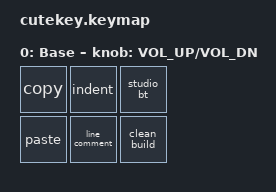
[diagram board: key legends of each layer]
/*
 * Copyright (c) 2022 The ZMK Contributors
 *
 * SPDX-License-Identifier: MIT
 */

#include <behaviors.dtsi>
#include <dt-bindings/zmk/keys.h>
#include <dt-bindings/zmk/bt.h>
#include <dt-bindings/zmk/outputs.h>

#define DEFAULT 0
#define NAV     1

&lt { quick-tap-ms = <200>; };

/ {
    macros {
        bt_pair: bt_pair {
            compatible = "zmk,behavior-macro";
            #binding-cells = <0>;
            wait-ms = <40>;
            tap-ms = <40>;
            bindings = <&bt BT_CLR_ALL>, <&bt BT_SEL 0>;
        };
        copy: copy {
            compatible = "zmk,behavior-macro";
            #binding-cells = <0>;
            wait-ms = <40>;
            tap-ms = <40>;
            bindings = 
                <&macro_press &kp LEFT_CONTROL>,
                <&macro_tap &kp C>,
                <&macro_release &kp LEFT_CONTROL>;
        };
        paste: paste {
            compatible = "zmk,behavior-macro";
            #binding-cells = <0>;
            wait-ms = <40>;
            tap-ms = <40>;
            bindings = 
                <&macro_press &kp LEFT_CONTROL>,
                <&macro_tap &kp V>,
                <&macro_release &kp LEFT_CONTROL>;
        };
        line_comment: line_comment {
            compatible = "zmk,behavior-macro";
            #binding-cells = <0>;
            wait-ms = <40>;
            tap-ms = <40>;
            bindings = 
                <&macro_press &kp LEFT_CONTROL>,
                <&macro_tap &kp FSLH>,
                <&macro_release &kp LEFT_CONTROL>;
        };
        indent: indent {
            compatible = "zmk,behavior-macro";
            #binding-cells = <0>;
            wait-ms = <40>;
            tap-ms = <40>;
            bindings = 
                <&macro_press &kp LEFT_CONTROL>,
                <&macro_tap &kp S>,
                <&macro_release &kp LEFT_CONTROL>;
        };
        clean_build: clean_build {
            compatible = "zmk,behavior-macro";
            #binding-cells = <0>;
            wait-ms = <40>;
            tap-ms = <40>;
            bindings = 
                <&macro_press &kp LEFT_SHIFT>,
                <&macro_tap &kp F11>,
                <&macro_release &kp LEFT_SHIFT>;
        };
        boot: boot {
            compatible = "zmk,behavior-macro";
            #binding-cells = <0>;
            wait-ms = <40>;
            tap-ms = <40>;
            bindings = 
                <&bootloader>;

        };

    };
};

/ {
    behaviors {
        studio_bt: studio_bt {
            compatible = "zmk,behavior-tap-dance";
            #binding-cells = <0>;
            tapping-term-ms = <200>;
            bindings = <&studio_unlock>, <&bt_pair>;
        };
    };
};

/{
    keymap {
        compatible = "zmk,keymap";
        
        default_layer {
            display-name = "Base";
            bindings = <
                &copy  &paste  &indent  &line_comment  &studio_bt  &clean_build
            >;
            sensor-bindings = <&inc_dec_kp C_VOL_UP C_VOL_DN>;
        };

        extra1 {
            status = "reserved";
        };

        extra2 {
            status = "reserved";
        };

    };
};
